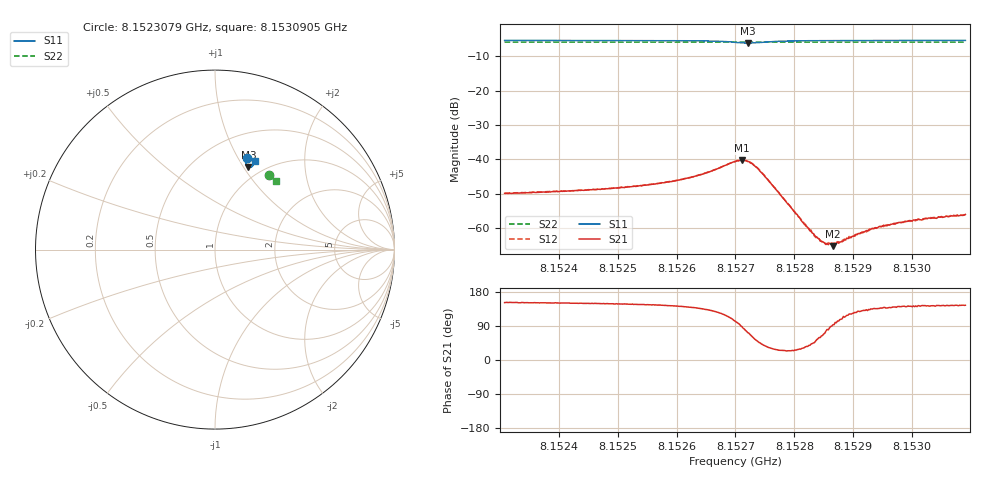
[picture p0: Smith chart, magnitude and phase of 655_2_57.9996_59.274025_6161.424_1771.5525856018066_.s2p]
#  HZ  S  RI  R  50.00
! Rohde & Schwarz Vector Network Analyzer
! Rohde-Schwarz,ZNB20-2Port,1311601062101988,3.16
! Created: UTC 3/21/2024, 1:19:43 AM
! freq[Hz]  re:S11  im:S11  re:S21  im:S21  re:S12  im:S12  re:S22  im:S22
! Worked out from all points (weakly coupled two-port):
!   401 points, 8.1523079 GHz to 8.1530905 GHz, reference 50 ohm
!   highest |S21| = -40.20 dB at 8.1527109 GHz (marker M1); lowest = -65.3 dB at 8.1528655 GHz (marker M2)
!   lowest |S11| = -6.1 dB at 8.1527207 GHz (marker M3), VSWR 2.96, Z = 43.2 + j52.5 ohm
!   |S11| at or under -10 dB: nowhere
!   |S22| runs from -5.9 to -5.8 dB; largest |S21 - S12| = 0.00021
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8.15230786e9  0.1781 0.5104  -0.00282 0.00154  -0.00282 0.00156  0.3024 0.4129
8.15243895e9  0.1885 0.5066  -0.00308 0.00179  -0.00307 0.00184  0.3089 0.4076
8.15250743e9  0.1944 0.504  -0.0033 0.00209  -0.0033 0.00215  0.3123 0.4049
8.15257004e9  0.2007 0.5005  -0.00367 0.00256  -0.00365 0.00265  0.3156 0.4023
8.15260526e9  0.2051 0.4975  -0.00395 0.00313  -0.00393 0.00321  0.3173 0.4006
8.15263852e9  0.2097 0.4922  -0.00426 0.0041  -0.00424 0.00418  0.3189 0.3992
8.15269918e9  0.2081 0.4642  -0.00206 0.00907  -0.00208 0.00915  0.3211 0.3959
8.15271091e9  0.1973 0.4582  0.000298 0.00977  0.000442 0.00979  0.3215 0.3954
8.1527207e9  0.1856 0.4592  0.00283 0.00889  0.0028 0.00907  0.3214 0.3953
8.15273244e9  0.1752 0.4684  0.00459 0.00666  0.00465 0.00678  0.3219 0.3954
8.15274418e9  0.1725 0.4794  0.00475 0.00433  0.00485 0.00437  0.3223 0.3952
8.15283027e9  0.1945 0.5003  0.000619 0.000583  0.000629 0.000584  0.3274 0.3922
8.15283809e9  0.1961 0.5002  0.000439 0.0006  0.000454 0.000548  0.3279 0.3919
8.15284788e9  0.1975 0.5002  0.000272 0.000572  0.00026 0.000554  0.3285 0.3914
8.15285375e9  0.1985 0.5002  0.000133 0.00056  0.000157 0.000577  0.3287 0.3912
8.15286549e9  0.2 0.5  -2.8e-05 0.000545  2.54e-06 0.000591  0.3293 0.3906
8.15287918e9  0.2018 0.4998  -0.000193 0.000604  -0.000199 0.000601  0.3299 0.3902
8.15290657e9  0.2051 0.4992  -0.000484 0.00064  -0.000449 0.000676  0.3313 0.389
8.15293397e9  0.2079 0.4984  -0.000698 0.000688  -0.00069 0.000702  0.3327 0.3878
8.15296136e9  0.2104 0.4978  -0.000832 0.000729  -0.000823 0.000753  0.334 0.3866
8.15301419e9  0.2152 0.4962  -0.00104 0.000814  -0.00107 0.000836  0.3364 0.3842
8.1530905e9  0.2211 0.4941  -0.00129 0.00092  -0.00125 0.000923  0.3402 0.381
